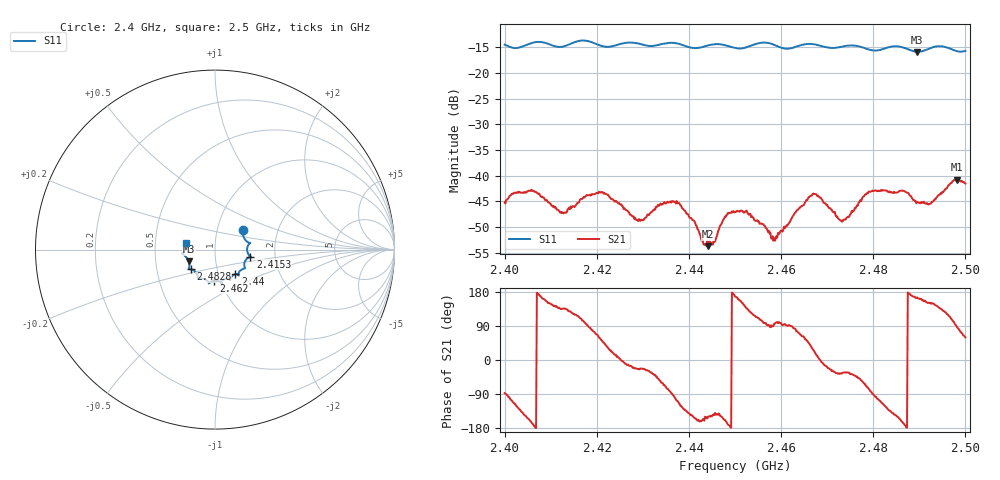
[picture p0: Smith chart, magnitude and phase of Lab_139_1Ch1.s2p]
# Hz S RI R 50
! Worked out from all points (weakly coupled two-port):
!   601 points, 2.4 GHz to 2.5 GHz, reference 50 ohm
!   highest |S21| = -40.80 dB at 2.4982 GHz (marker M1); lowest = -53.7 dB at 2.4442 GHz (marker M2)
!   lowest |S11| = -15.9 dB at 2.4895 GHz (marker M3), VSWR 1.38, Z = 37 - j4.99 ohm
!   |S11| at or under -10 dB: start of sweep to end of sweep
!   S12 and S22 are empty: the file has one direction only
!   S11 on the Smith chart (normalised r, x): 2.4 GHz: 1.33, +0.30; 2.4153 GHz: 1.48, -0.12; 2.44 GHz: 1.21, -0.34; 2.462 GHz: 0.93, -0.33; 2.4828 GHz: 0.74, -0.17; 2.5 GHz: 0.72, +0.06
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2.4e9  0.1553 0.107  0.000259 -0.00552  0 0  0 0
2.405833e9  0.1911 0.0379  -0.00705 -0.00193  0 0  0 0
2.412333e9  0.1788 -0.00541  -0.00302 0.00308  0 0  0 0
2.415333e9  0.1962 -0.0391  -0.00253 0.00443  0 0  0 0
2.416667e9  0.202 -0.0429  -0.00185 0.00565  0 0  0 0
2.4215e9  0.171 -0.0586  0.00463 0.0048  0 0  0 0
2.429e9  0.1618 -0.1057  0.00332 -0.00143  0 0  0 0
2.433333e9  0.1308 -0.1336  0.0034 -0.00395  0 0  0 0
2.437333e9  0.1314 -0.1427  -0.00163 -0.00543  0 0  0 0
2.44e9  0.114 -0.1365  -0.00309 -0.00256  0 0  0 0
2.444167e9  0.0855 -0.1642  -0.00177 -0.00105  0 0  0 0
2.45e9  0.0648 -0.1626  -0.00435 0.000914  0 0  0 0
2.458333e9  0.0353 -0.1855  2.53e-05 0.00233  0 0  0 0
2.462e9  -0.00525 -0.173  1.29e-05 0.00362  0 0  0 0
2.466667e9  -0.0345 -0.188  0.00543 0.0034  0 0  0 0
2.473333e9  -0.083 -0.1601  0.00297 -0.00199  0 0  0 0
2.478667e9  -0.1015 -0.1375  0.00213 -0.00645  0 0  0 0
2.482833e9  -0.1364 -0.1094  -0.0041 -0.00588  0 0  0 0
2.483333e9  -0.1402 -0.109  -0.0046 -0.00516  0 0  0 0
2.4895e9  -0.146 -0.0657  -0.00535 0.00142  0 0  0 0
2.498167e9  -0.1626 0.00767  0.000448 0.00911  0 0  0 0
2.5e9  -0.1592 0.0389  0.00424 0.00723  0 0  0 0
